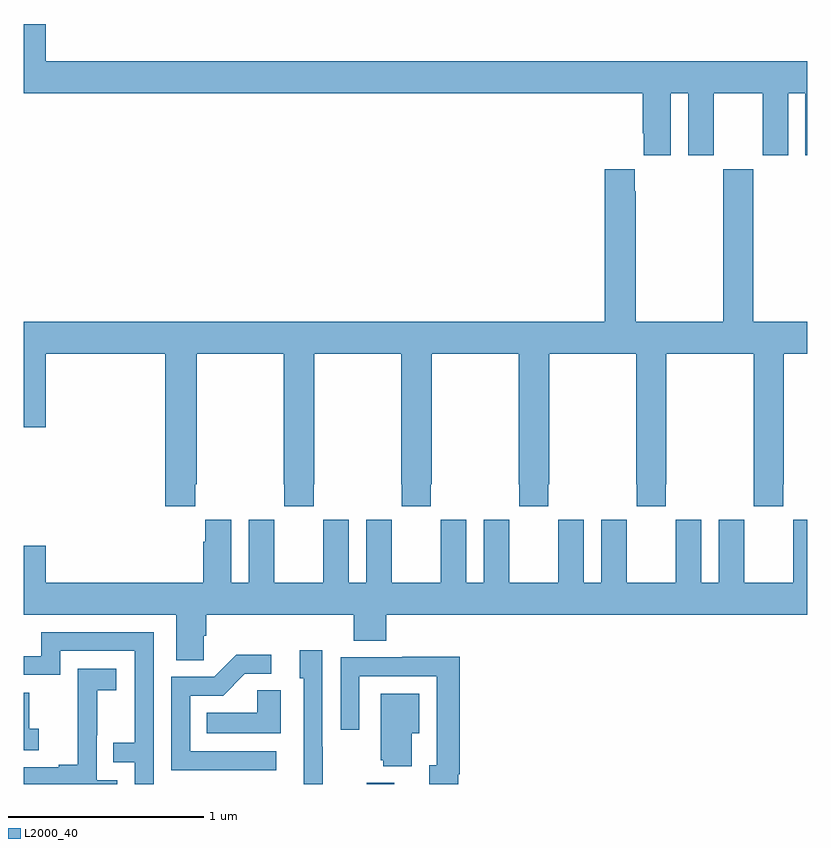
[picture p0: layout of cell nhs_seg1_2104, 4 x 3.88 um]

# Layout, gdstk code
import gdstk
lib = gdstk.Library(unit=1e-6, precision=1e-09)
def R(c, l, rs):  # rectangles x0, y0, x1, y1
    for r in rs: c.add(gdstk.rectangle(r[:2], r[2:], *l))
def P(c, l, *ps):  # polygons
    for p in ps: c.add(gdstk.Polygon(p, *l))
L2000_40 = (2000, 40)

nhs_seg1_2104 = lib.new_cell('nhs_seg1_2104')
R(nhs_seg1_2104, L2000_40, [(226.751,552.199,226.891,552.205)])
P(nhs_seg1_2104, L2000_40, [(228.304,555.728),(228.392,555.728),(228.392,555.411),(228.523,555.411),(228.523,555.728),(228.773,555.728),(228.773,555.411),(228.904,555.411),(228.904,555.728),(228.992,555.728),(228.992,555.411),(229,555.411),(229,555.892),(225.112,555.892),(225.112,556.081),(225,556.081),(225,555.728),(228.161,555.728),(228.161,555.523),(228.167,555.523),(228.167,555.411),(228.304,555.411)],
  [(225.875,553.729),(225.882,553.729),(225.882,554.396),(226.327,554.396),(226.327,553.729),(226.329,553.729),(226.329,553.617),(226.479,553.617),(226.479,553.729),(226.482,553.729),(226.482,554.396),(226.927,554.396),(226.927,553.729),(226.929,553.729),(226.929,553.617),(227.079,553.617),(227.079,553.729),(227.082,553.729),(227.082,554.396),(227.527,554.396),(227.527,553.729),(227.529,553.729),(227.529,553.617),(227.679,553.617),(227.679,553.729),(227.682,553.729),(227.682,554.396),(228.127,554.396),(228.127,553.729),(228.129,553.729),(228.129,553.617),(228.279,553.617),(228.279,553.729),(228.282,553.729),(228.282,554.396),(228.727,554.396),(228.727,553.729),(228.729,553.729),(228.729,553.617),(228.879,553.617),(228.879,553.729),(228.882,553.729),(228.882,554.396),(229,554.396),(229,554.56),(228.726,554.56),(228.726,555.34),(228.571,555.34),(228.571,554.56),(228.126,554.56),(228.126,555.227),(228.121,555.227),(228.121,555.34),(227.966,555.34),(227.966,554.56),(225,554.56),(225,554.022),(225.112,554.022),(225.112,554.396),(225.722,554.396),(225.722,553.617),(225.875,553.617)],
  [(225.918,552.955),(225.932,552.955),(225.932,553.064),(226.685,553.064),(226.685,552.931),(226.85,552.931),(226.85,553.064),(229,553.064),(229,553.549),(228.93,553.549),(228.93,553.436),(228.929,553.436),(228.929,553.228),(228.679,553.228),(228.679,553.436),(228.678,553.436),(228.678,553.549),(228.548,553.549),(228.548,553.228),(228.46,553.228),(228.46,553.549),(228.33,553.549),(228.33,553.436),(228.329,553.436),(228.329,553.228),(228.079,553.228),(228.079,553.436),(228.078,553.436),(228.078,553.549),(227.948,553.549),(227.948,553.228),(227.86,553.228),(227.86,553.549),(227.73,553.549),(227.73,553.436),(227.729,553.436),(227.729,553.228),(227.479,553.228),(227.479,553.436),(227.478,553.436),(227.478,553.549),(227.348,553.549),(227.348,553.228),(227.26,553.228),(227.26,553.549),(227.13,553.549),(227.13,553.436),(227.129,553.436),(227.129,553.228),(226.879,553.228),(226.879,553.436),(226.878,553.436),(226.878,553.549),(226.748,553.549),(226.748,553.228),(226.66,553.228),(226.66,553.549),(226.53,553.549),(226.53,553.436),(226.529,553.436),(226.529,553.228),(226.279,553.228),(226.279,553.436),(226.278,553.436),(226.278,553.549),(226.148,553.549),(226.148,553.228),(226.06,553.228),(226.06,553.549),(225.926,553.549),(225.926,553.436),(225.917,553.436),(225.917,553.228),(225.112,553.228),(225.112,553.417),(225,553.417),(225,553.064),(225.779,553.064),(225.779,552.832),(225.918,552.832)],
  [(225.663,552.975),(225.089,552.975),(225.089,552.852),(225,552.852),(225,552.756),(225.186,552.756),(225.186,552.879),(225.567,552.879),(225.567,552.41),(225.457,552.41),(225.457,552.309),(225.567,552.309),(225.567,552.199),(225.663,552.199)],
  [(226.527,552.389),(226.524,552.389),(226.524,552.883),(226.409,552.883),(226.409,552.738),(226.428,552.738),(226.428,552.199),(226.527,552.199)],
  [(226.288,552.366),(225.849,552.366),(225.849,552.651),(226.018,552.651),(226.129,552.762),(226.264,552.762),(226.264,552.86),(226.085,552.86),(225.972,552.747),(225.753,552.747),(225.753,552.27),(226.288,552.27)],
  [(227.218,552.25),(227.225,552.25),(227.225,552.848),(226.933,552.848),(226.933,552.846),(226.617,552.846),(226.617,552.477),(226.713,552.477),(226.713,552.75),(227.109,552.75),(227.109,552.294),(227.069,552.294),(227.069,552.199),(227.218,552.199)],
  [(225.477,552.219),(225.372,552.219),(225.372,552.449),(225.374,552.449),(225.374,552.677),(225.472,552.677),(225.472,552.787),(225.274,552.787),(225.274,552.581),(225.275,552.581),(225.275,552.298),(225.179,552.298),(225.179,552.285),(225,552.285),(225,552.199),(225.477,552.199)],
  [(226.312,552.677),(226.191,552.677),(226.191,552.562),(225.934,552.562),(225.934,552.458),(226.312,552.458)],
  [(225.076,552.481),(225.027,552.481),(225.027,552.666),(225,552.666),(225,552.372),(225.076,552.372)],
  [(226.981,552.458),(227.02,552.458),(227.02,552.661),(226.823,552.661),(226.823,552.321),(226.835,552.321),(226.835,552.29),(226.981,552.29)])

lib.write_gds('nhs_seg1_2104.gds')
